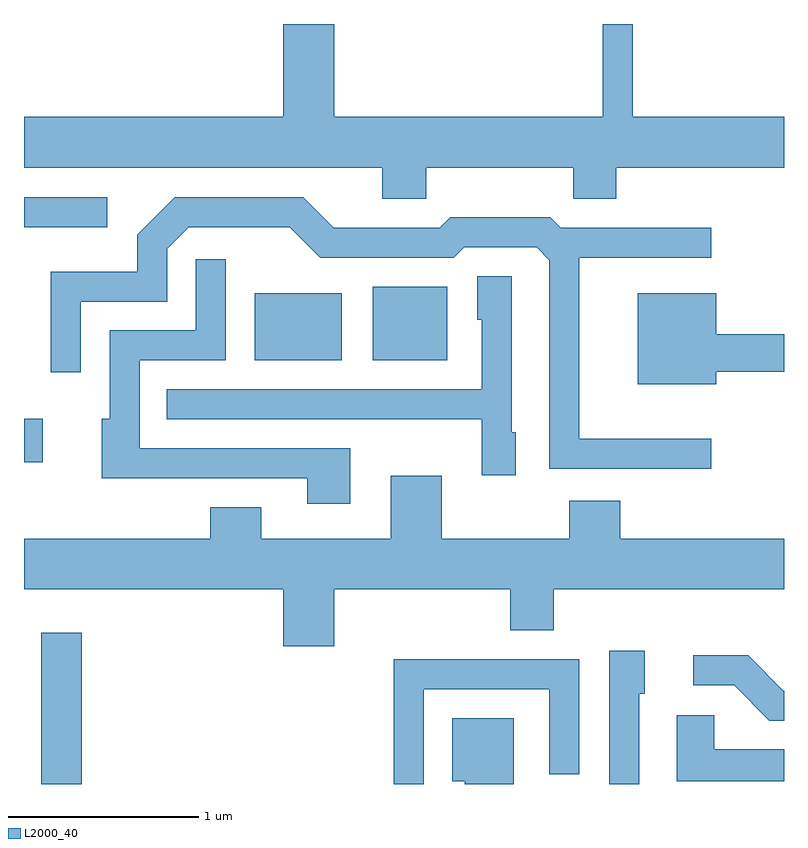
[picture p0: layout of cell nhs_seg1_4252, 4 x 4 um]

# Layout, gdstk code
import gdstk
lib = gdstk.Library(unit=1e-6, precision=1e-09)
def R(c, l, rs):  # rectangles x0, y0, x1, y1
    for r in rs: c.add(gdstk.rectangle(r[:2], r[2:], *l))
def P(c, l, *ps):  # polygons
    for p in ps: c.add(gdstk.Polygon(p, *l))
L2000_40 = (2000, 40)

nhs_seg1_4252 = lib.new_cell('nhs_seg1_4252')
R(nhs_seg1_4252, L2000_40, [(313.701,849.712,313.914,850.509), (313.611,851.406,313.709,851.634), (314.826,851.941,315.284,852.294), (315.446,851.941,315.839,852.329), (313.611,852.641,314.048,852.799)])
P(nhs_seg1_4252, L2000_40, [(315.244,853.712),(314.976,853.712),(314.976,853.224),(313.611,853.224),(313.611,852.956),(315.496,852.956),(315.496,852.791),(315.729,852.791),(315.729,852.956),(316.501,852.956),(316.501,852.791),(316.729,852.791),(316.729,852.956),(317.611,852.956),(317.611,853.224),(316.814,853.224),(316.814,853.712),(316.656,853.712),(316.656,853.224),(315.244,853.224)],
  [(317.228,851.529),(316.534,851.529),(316.534,852.481),(317.228,852.481),(317.228,852.639),(316.437,852.639),(316.382,852.694),(315.854,852.694),(315.799,852.639),(315.242,852.639),(315.082,852.799),(314.404,852.799),(314.206,852.602),(314.206,852.409),(313.751,852.409),(313.751,851.878),(313.909,851.878),(313.909,852.251),(314.364,852.251),(314.364,852.529),(314.477,852.641),(315.009,852.641),(315.169,852.481),(315.872,852.481),(315.927,852.536),(316.309,852.536),(316.376,852.469),(316.376,851.371),(317.228,851.371)],
  [(315.329,851.479),(314.219,851.479),(314.219,851.941),(314.674,851.941),(314.674,852.473),(314.516,852.473),(314.516,852.099),(314.061,852.099),(314.061,851.634),(314.021,851.634),(314.021,851.321),(315.101,851.321),(315.101,851.186),(315.329,851.186)],
  [(316.199,851.564),(316.179,851.564),(316.179,852.384),(315.996,852.384),(315.996,852.156),(316.021,852.156),(316.021,851.789),(314.363,851.789),(314.363,851.631),(316.021,851.631),(316.021,851.336),(316.199,851.336)],
  [(317.254,851.881),(317.611,851.881),(317.611,852.079),(317.254,852.079),(317.254,852.294),(316.841,852.294),(316.841,851.816),(317.254,851.816)],
  [(315.244,850.736),(316.171,850.736),(316.171,850.521),(316.399,850.521),(316.399,850.736),(317.611,850.736),(317.611,851.004),(316.749,851.004),(316.749,851.204),(316.481,851.204),(316.481,851.004),(315.809,851.004),(315.809,851.334),(315.541,851.334),(315.541,851.004),(314.859,851.004),(314.859,851.169),(314.591,851.169),(314.591,851.004),(313.611,851.004),(313.611,850.736),(314.976,850.736),(314.976,850.436),(315.244,850.436)],
  [(316.849,850.186),(316.879,850.186),(316.879,850.414),(316.691,850.414),(316.691,849.712),(316.849,849.712)],
  [(317.611,850.204),(317.607,850.204),(317.422,850.389),(317.133,850.389),(317.133,850.231),(317.349,850.231),(317.534,850.046),(317.611,850.046)],
  [(315.714,850.211),(316.376,850.211),(316.376,849.763),(316.534,849.763),(316.534,850.369),(315.556,850.369),(315.556,849.712),(315.714,849.712)],
  [(317.611,849.894),(317.244,849.894),(317.244,850.074),(317.046,850.074),(317.046,849.726),(317.611,849.726)],
  [(316.189,850.059),(315.866,850.059),(315.866,849.726),(315.931,849.726),(315.931,849.712),(316.189,849.712)])

lib.write_gds('nhs_seg1_4252.gds')
